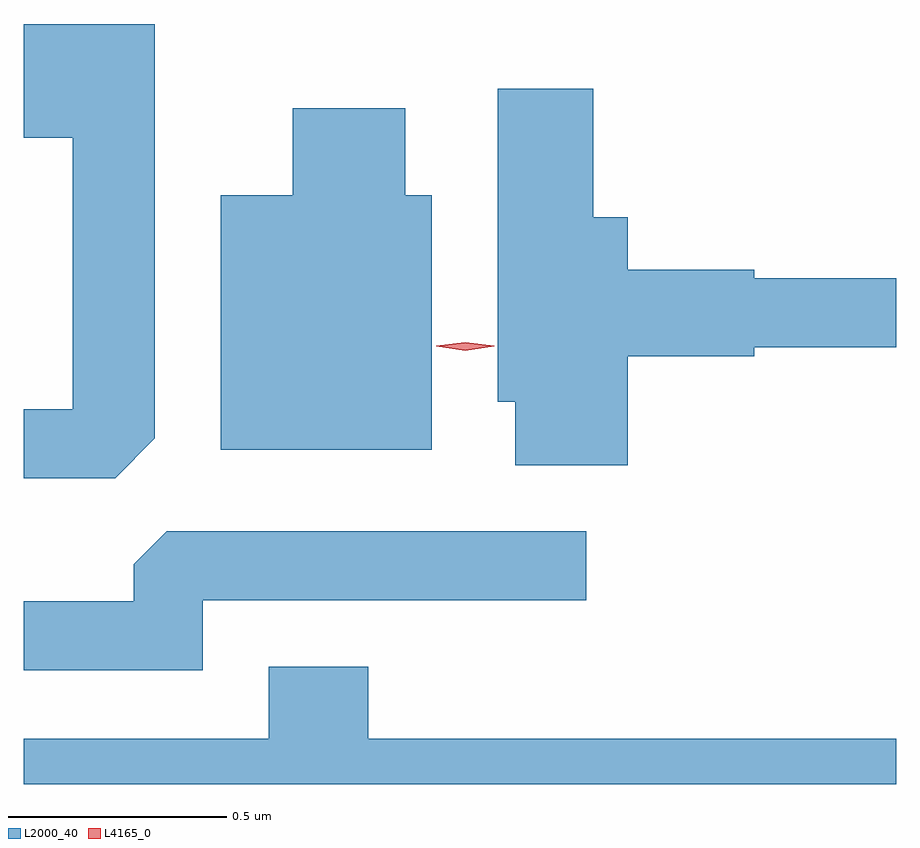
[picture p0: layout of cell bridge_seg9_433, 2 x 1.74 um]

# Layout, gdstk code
import gdstk
lib = gdstk.Library(unit=1e-6, precision=1e-09)
def P(c, l, *ps):  # polygons
    for p in ps: c.add(gdstk.Polygon(p, *l))
L2000_40 = (2000, 40)
L4165_0 = (4165, 0)

bridge_seg9_433 = lib.new_cell('bridge_seg9_433')
P(bridge_seg9_433, L2000_40, [(531.579,2081.572),(531.579,2082.522),(531.279,2082.522),(531.279,2082.261),(531.391,2082.261),(531.391,2081.639),(531.279,2081.639),(531.279,2081.481),(531.489,2081.481)],
  [(532.664,2081.761),(532.954,2081.761),(532.954,2081.781),(533.279,2081.781),(533.279,2081.939),(532.954,2081.939),(532.954,2081.959),(532.664,2081.959),(532.664,2082.079),(532.584,2082.079),(532.584,2082.374),(532.366,2082.374),(532.366,2081.656),(532.406,2081.656),(532.406,2081.511),(532.664,2081.511)],
  [(532.214,2082.129),(532.154,2082.129),(532.154,2082.329),(531.896,2082.329),(531.896,2082.129),(531.731,2082.129),(531.731,2081.546),(532.214,2081.546)],
  [(531.689,2081.201),(532.568,2081.201),(532.568,2081.359),(531.607,2081.359),(531.531,2081.284),(531.531,2081.199),(531.279,2081.199),(531.279,2081.041),(531.689,2081.041)],
  [(533.279,2080.884),(532.069,2080.884),(532.069,2081.049),(531.841,2081.049),(531.841,2080.884),(531.279,2080.884),(531.279,2080.78),(533.279,2080.78)])
P(bridge_seg9_433, L4165_0, [(532.291,2081.773),(532.224,2081.783),(532.224,2081.783),(532.224,2081.784),(532.291,2081.793),(532.357,2081.784),(532.357,2081.783),(532.357,2081.783)])

lib.write_gds('bridge_seg9_433.gds')
